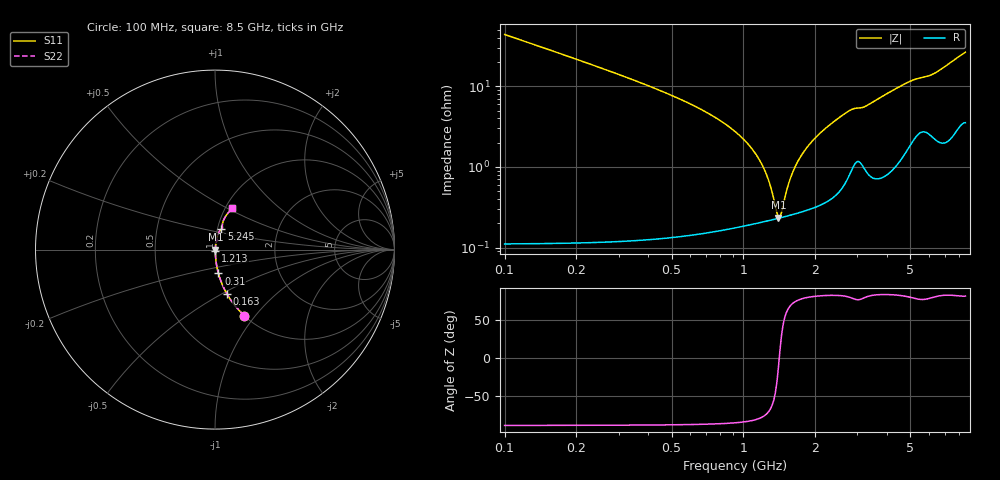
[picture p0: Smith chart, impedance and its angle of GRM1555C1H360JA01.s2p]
!Murata Part Number: GRM1555C1H360JA01
!These Parameters are Measured in Series Mode Connection
!Data Generated on Mar 30, 2021
!  o--ll--o
!Port1  Port2
!  o------o
!Operation Temp=25[degC], DC Bias Voltage=0[V]
!Freq. Start=100[MHz] Stop=9[GHz] 401[Steps]
# Hz S RI R 50
!Freq.(Hz) S11(Real) S11(Imag) S21(Real) S21(Imag) S12(Real) S12(Imag) S22(Real) S22(Imag)
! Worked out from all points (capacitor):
!   401 points, 100 MHz to 8.5 GHz, reference 50 ohm
!   read as one part in series: C = 36 pF near 142 MHz
!   lowest |Z| = 236 mohm at 1.402 GHz (marker M1)
!   series resonance near 1.413 GHz, so ESL is about 350 pH
!   S11 on the Smith chart (normalised r, x): 100 MHz: 1.00, -0.88; 163 MHz: 1.00, -0.54; 310 MHz: 1.00, -0.27; 1.213 GHz: 1.00, -0.02; 5.245 GHz: 1.05, +0.24; 8.5 GHz: 1.07, +0.52
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1e8  0.1627 -0.3679  0.8373 0.3679  0.8373 0.3679  0.1627 -0.3679
1.63e8  0.0677 -0.2492  0.9323 0.2492  0.9323 0.2492  0.0677 -0.2492
3.1e8  0.0192 -0.1329  0.9808 0.1329  0.9808 0.1329  0.0192 -0.1329
9.82e8  0.00235 -0.0232  0.9976 0.0232  0.9976 0.0232  0.00235 -0.0232
1.108e9  0.00219 -0.0153  0.9978 0.0153  0.9978 0.0153  0.00219 -0.0153
1.213e9  0.00217 -0.00956  0.9978 0.00956  0.9978 0.00956  0.00217 -0.00956
1.276e9  0.0022 -0.00638  0.9978 0.00638  0.9978 0.00638  0.0022 -0.00638
1.381e9  0.00228 -0.00143  0.9977 0.00143  0.9977 0.00143  0.00228 -0.00143
1.402e9  0.00231 -0.000482  0.9977 0.000482  0.9977 0.000482  0.00231 -0.000482
1.444e9  0.00236 0.00137  0.9976 -0.00137  0.9976 -0.00137  0.00236 0.00137
1.507e9  0.00245 0.00405  0.9976 -0.00405  0.9976 -0.00405  0.00245 0.00405
1.591e9  0.0026 0.00749  0.9974 -0.00749  0.9974 -0.00749  0.0026 0.00749
1.675e9  0.00277 0.0108  0.9972 -0.0108  0.9972 -0.0108  0.00277 0.0108
1.927e9  0.00343 0.02  0.9966 -0.02  0.9966 -0.02  0.00343 0.02
2.368e9  0.00536 0.0351  0.9946 -0.0351  0.9946 -0.0351  0.00536 0.0351
2.914e9  0.0131 0.0508  0.9869 -0.0508  0.9869 -0.0508  0.0131 0.0508
3.208e9  0.0124 0.0537  0.9876 -0.0537  0.9876 -0.0537  0.0124 0.0537
4.3e9  0.0177 0.0889  0.9823 -0.0889  0.9823 -0.0889  0.0177 0.0889
5.245e9  0.0359 0.1133  0.9641 -0.1133  0.9641 -0.1133  0.0359 0.1133
5.707e9  0.0412 0.1187  0.9588 -0.1187  0.9588 -0.1187  0.0412 0.1187
7.114e9  0.0503 0.1696  0.9497 -0.1696  0.9497 -0.1696  0.0503 0.1696
8.5e9  0.0924 0.2297  0.9076 -0.2297  0.9076 -0.2297  0.0924 0.2297
